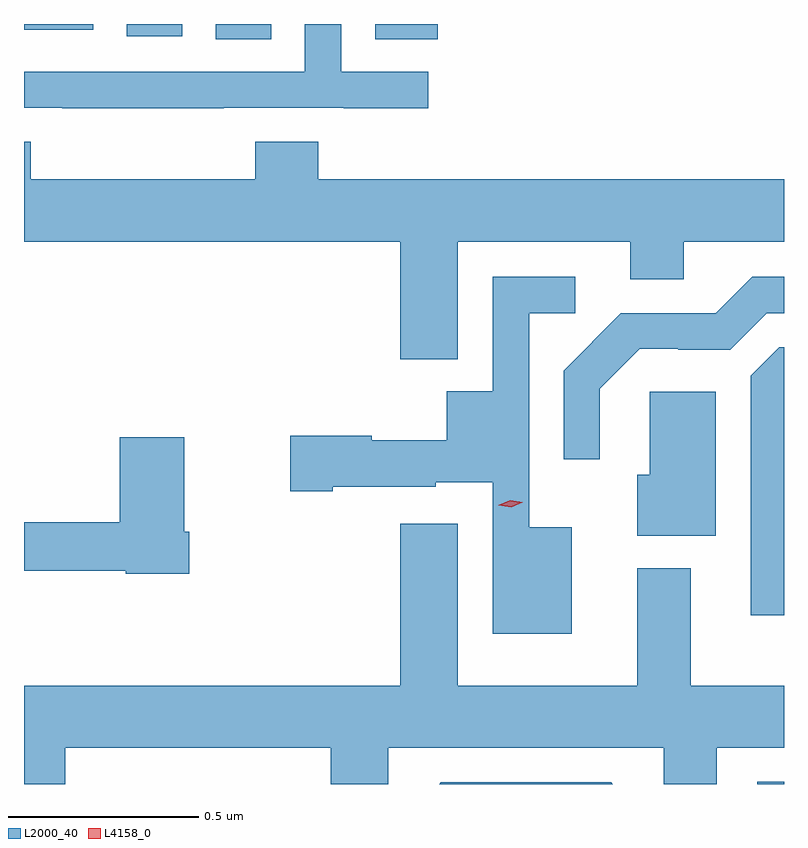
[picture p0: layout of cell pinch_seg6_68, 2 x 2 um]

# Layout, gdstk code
import gdstk
lib = gdstk.Library(unit=1e-6, precision=1e-09)
def R(c, l, rs):  # rectangles x0, y0, x1, y1
    for r in rs: c.add(gdstk.rectangle(r[:2], r[2:], *l))
def P(c, l, *ps):  # polygons
    for p in ps: c.add(gdstk.Polygon(p, *l))
L2000_40 = (2000, 40)
L4158_0 = (4158, 0)

pinch_seg6_68 = lib.new_cell('pinch_seg6_68')
R(pinch_seg6_68, L2000_40, [(888.066,945.909,888.136,945.915), (886.64,947.869,886.786,947.909), (887.06,947.869,887.225,947.909), (886.406,947.877,886.552,947.909), (886.136,947.894,886.318,947.909)])
P(pinch_seg6_68, L2000_40, [(886.661,947.688),(886.978,947.688),(886.978,947.687),(887.2,947.687),(887.2,947.784),(886.971,947.784),(886.971,947.909),(886.875,947.909),(886.875,947.784),(886.136,947.784),(886.136,947.688),(886.237,947.688),(886.237,947.687),(886.661,947.687)],
  [(887.278,947.336),(887.732,947.336),(887.732,947.237),(887.872,947.237),(887.872,947.336),(888.136,947.336),(888.136,947.5),(886.91,947.5),(886.91,947.599),(886.745,947.599),(886.745,947.5),(886.154,947.5),(886.154,947.599),(886.136,947.599),(886.136,947.336),(887.126,947.336),(887.126,947.027),(887.278,947.027)],
  [(887.651,946.949),(887.756,947.054),(887.858,947.054),(887.858,947.052),(887.994,947.052),(888.09,947.148),(888.136,947.148),(888.136,947.244),(888.053,947.244),(887.957,947.148),(887.706,947.148),(887.631,947.073),(887.632,947.072),(887.556,946.996),(887.556,946.764),(887.651,946.764)],
  [(887.578,946.585),(887.466,946.585),(887.466,947.148),(887.586,947.148),(887.586,947.244),(887.37,947.244),(887.37,946.942),(887.249,946.942),(887.249,946.813),(887.051,946.813),(887.051,946.826),(886.836,946.826),(886.836,946.679),(886.948,946.679),(886.948,946.691),(887.22,946.691),(887.22,946.703),(887.37,946.703),(887.37,946.304),(887.578,946.304)],
  [(888.136,947.058),(888.123,947.058),(888.048,946.983),(888.048,946.353),(888.136,946.353)],
  [(887.956,946.941),(887.783,946.941),(887.783,946.723),(887.75,946.723),(887.75,946.562),(887.956,946.562)],
  [(886.571,946.573),(886.558,946.573),(886.558,946.822),(886.388,946.822),(886.388,946.598),(886.136,946.598),(886.136,946.47),(886.404,946.47),(886.404,946.462),(886.571,946.462)],
  [(886.244,946.004),(886.943,946.004),(886.943,945.909),(887.094,945.909),(887.094,946.004),(887.82,946.004),(887.82,945.909),(887.959,945.909),(887.959,946.004),(888.136,946.004),(888.136,946.168),(887.89,946.168),(887.89,946.477),(887.75,946.477),(887.75,946.168),(887.278,946.168),(887.278,946.594),(887.126,946.594),(887.126,946.168),(886.136,946.168),(886.136,945.909),(886.244,945.909)],
  [(887.681,945.913),(887.233,945.913),(887.229,945.909),(887.685,945.909)])
P(pinch_seg6_68, L4158_0, [(887.418,946.637),(887.384,946.642),(887.384,946.642),(887.384,946.642),(887.415,946.656),(887.449,946.651),(887.449,946.651),(887.449,946.651)])

lib.write_gds('pinch_seg6_68.gds')
